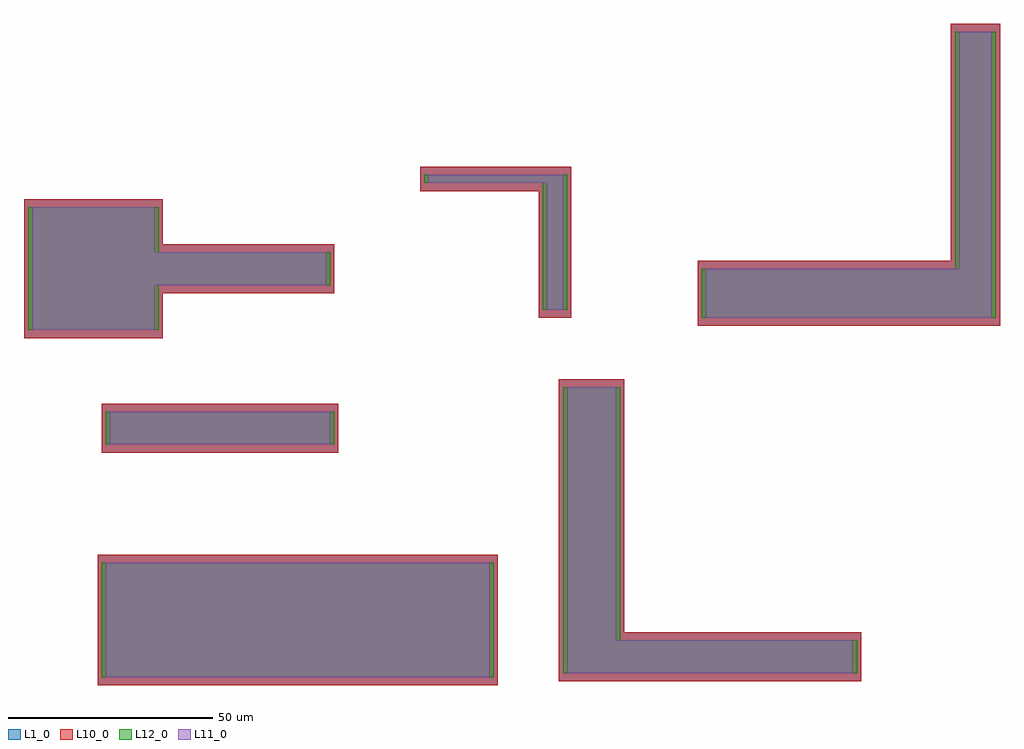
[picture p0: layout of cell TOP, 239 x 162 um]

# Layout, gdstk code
from math import pi, radians
import gdstk
lib = gdstk.Library(unit=1e-6, precision=1e-09)
def R(c, l, rs):  # rectangles x0, y0, x1, y1
    for r in rs: c.add(gdstk.rectangle(r[:2], r[2:], *l))
def P(c, l, *ps):  # polygons
    for p in ps: c.add(gdstk.Polygon(p, *l))
L1_0 = (1, 0)
L10_0 = (10, 0)
L11_0 = (11, 0)
L12_0 = (12, 0)

c_a = lib.new_cell('A')
R(c_a, L1_0, [(0,-12,58,0)])

c_b = lib.new_cell('B')
R(c_b, L1_0, [(12,-17,20,20), (-17,14,20,20)])
P(c_b, L10_0, [(12,-17),(12,14),(-17,14),(-17,20),(20,20),(20,-17)])
P(c_b, L11_0, [(14,-15),(14,16),(-15,16),(-15,18),(18,18),(18,-15)])
P(c_b, L12_0, [(13,-15),(13,16),(-16,16),(-16,18),(19,18),(19,-15)])

b_var1_var1 = lib.new_cell('B$VAR1$VAR1')
R(b_var1_var1, L1_0, [(12,-17,20,20), (-17,14,20,20)])
P(b_var1_var1, L10_0, [(12,-17),(12,14),(-17,14),(-17,20),(20,20),(20,-17)])
P(b_var1_var1, L11_0, [(13,-16),(13,15),(-16,15),(-16,19),(19,19),(19,-16)])
P(b_var1_var1, L12_0, [(13,-16.5),(13,14.5),(-16,14.5),(-16,19.5),(19,19.5),(19,-16.5)])

c_c = lib.new_cell('C')
c_c.add(gdstk.Reference(b_var1_var1, (14,28), rotation=pi))

b_var1 = lib.new_cell('B$VAR1')
R(b_var1, L1_0, [(12,-17,20,20), (-17,14,20,20)])
P(b_var1, L10_0, [(12,-17),(12,14),(-17,14),(-17,20),(20,20),(20,-17)])
P(b_var1, L11_0, [(13,-16),(13,15),(-16,15),(-16,19),(19,19),(19,-16)])
P(b_var1, L12_0, [(12.5,-16),(12.5,15),(-16.5,15),(-16.5,19),(19.5,19),(19.5,-16)])

top = lib.new_cell('TOP')
R(top, L1_0, [(-11,-15,23,19)])
R(top, L10_0, [(7,-100,105,-68), (8,-43,66,-31)])
P(top, L10_0, [(-11,-15),(-11,19),(23,19),(23,8),(65,8),(65,-4),(23,-4),(23,-15)])
R(top, L11_0, [(9,-98,103,-70), (10,-41,64,-33)])
P(top, L11_0, [(-9,-13),(-9,17),(21,17),(21,6),(63,6),(63,-2),(21,-2),(21,-13)])
R(top, L12_0, [(8,-98,104,-70), (9,-41,65,-33)])
P(top, L12_0, [(-10,-13),(-10,17),(22,17),(22,6),(64,6),(64,-2),(22,-2),(22,-13)])
top.add(gdstk.Reference(c_a, (7,8)))
top.add(gdstk.Reference(c_a, (8,-31)))
r = gdstk.Reference(c_a, (7,-88)); r.repetition = gdstk.Repetition(2, 5, v1=(40,0), v2=(0,5)); top.add(r)
top.add(gdstk.Reference(c_b, (103,7)))
top.add(gdstk.Reference(c_c, (244,0), rotation=pi/2, magnification=2))
top.add(gdstk.Reference(b_var1, (160,-59), rotation=pi, magnification=2))

lib.write_gds('TOP.gds')
